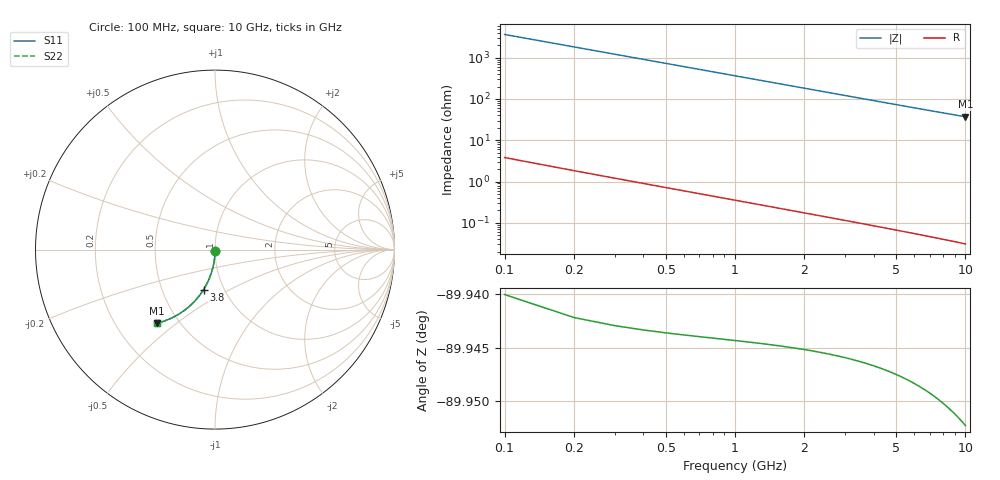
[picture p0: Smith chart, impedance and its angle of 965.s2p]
# Hz S RI R 50.00
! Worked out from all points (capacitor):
!   100 points, 100 MHz to 10 GHz, reference 50 ohm
!   read as one part in shunt: C = 436 fF near 100 MHz
!   lowest |Z| = 37.1 ohm at 10 GHz (marker M1)
!   S11 on the Smith chart (normalised r, x): 100 MHz: 1.00, -0.01; 3.8 GHz: 0.80, -0.38; 10 GHz: 0.38, -0.43
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1e8  0.00016 -0.00627  0.9997 -0.00743  0.9997 -0.00743  0.00016 -0.00627
2e8  1.46e-05 -0.0125  0.9996 -0.0149  0.9996 -0.0149  1.46e-05 -0.0125
3e8  -0.000224 -0.0188  0.9993 -0.0223  0.9993 -0.0223  -0.000224 -0.0188
4e8  -0.000556 -0.0251  0.999 -0.0297  0.999 -0.0297  -0.000556 -0.0251
5e8  -0.000981 -0.0313  0.9986 -0.0371  0.9986 -0.0371  -0.000981 -0.0313
6e8  -0.0015 -0.0376  0.998 -0.0445  0.998 -0.0445  -0.0015 -0.0376
7e8  -0.00211 -0.0438  0.9974 -0.0519  0.9974 -0.0519  -0.00211 -0.0438
8e8  -0.00281 -0.05  0.9967 -0.0593  0.9967 -0.0593  -0.00281 -0.05
9e8  -0.0036 -0.0562  0.9959 -0.0667  0.9959 -0.0667  -0.0036 -0.0562
1.1e9  -0.00547 -0.0686  0.994 -0.0814  0.994 -0.0814  -0.00547 -0.0686
1.4e9  -0.00894 -0.087  0.9905 -0.1033  0.9905 -0.1033  -0.00894 -0.087
1.8e9  -0.0148 -0.1112  0.9845 -0.1321  0.9845 -0.1321  -0.0148 -0.1112
2.1e9  -0.0201 -0.129  0.9791 -0.1534  0.9791 -0.1534  -0.0201 -0.129
2.5e9  -0.0284 -0.1522  0.9708 -0.1813  0.9708 -0.1813  -0.0284 -0.1522
2.9e9  -0.0379 -0.1747  0.9611 -0.2085  0.9611 -0.2085  -0.0379 -0.1747
3.4e9  -0.0514 -0.2018  0.9473 -0.2415  0.9473 -0.2415  -0.0514 -0.2018
3.8e9  -0.0635 -0.2226  0.935 -0.2669  0.935 -0.2669  -0.0635 -0.2226
4.4e9  -0.0836 -0.2519  0.9146 -0.3033  0.9146 -0.3033  -0.0836 -0.2519
5.1e9  -0.1094 -0.2832  0.8883 -0.3429  0.8883 -0.3429  -0.1094 -0.2832
6.7e9  -0.1759 -0.3425  0.8205 -0.4211  0.8205 -0.4211  -0.1759 -0.3425
8.4e9  -0.2528 -0.3861  0.7418 -0.4852  0.7418 -0.4852  -0.2528 -0.3861
1e10  -0.3259 -0.4103  0.6665 -0.5289  0.6665 -0.5289  -0.3259 -0.4103
